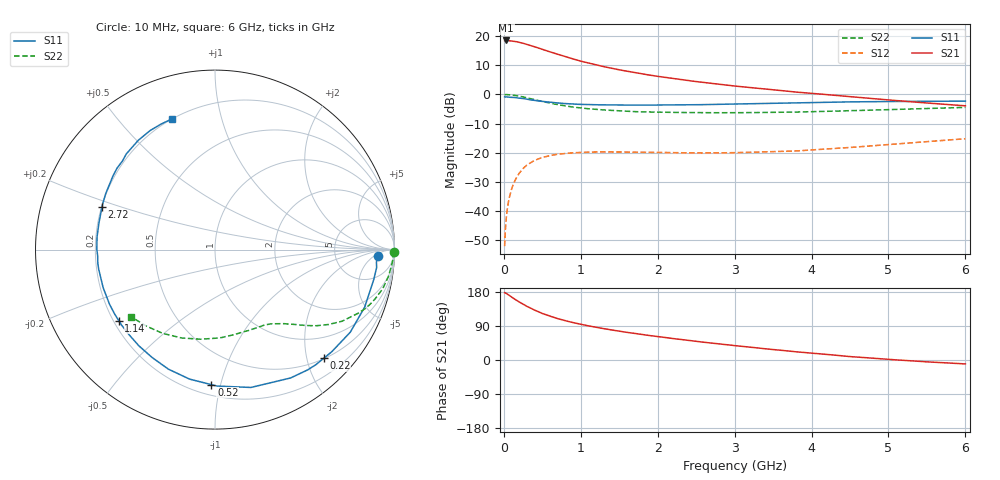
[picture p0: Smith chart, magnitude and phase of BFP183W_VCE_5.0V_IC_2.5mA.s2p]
! (c) 2016  Infineon Technologies AG, Munich
! Infineon Technologies  Discrete & RF Semiconductors
! BFP183W
! VCE = 5.0 V,  IC =  2.5 mA
! Common Emitter S-Parameters:  Jan 2016
# GHz  S  MA  R  50
!  f  S11  S21  S12  S22
! GHz  MAG  ANG  MAG  ANG  MAG  ANG  MAG  ANG
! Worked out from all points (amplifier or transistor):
!   210 points, 10 MHz to 6 GHz, reference 50 ohm
!   highest |S21| = 18.5 dB at 30 MHz (marker M1)
!   |S21| within 3 dB of that: start of sweep to 495.8 MHz
!   unconditionally stable (mu >= 1): 2.265 GHz to end of sweep
!   at 185 MHz: K = 0.10, MSG = 22.8 dB, |S12| = -27.7 dB
!   at 1.52 GHz: K = 0.69, MSG = 14.0 dB, |S12| = -19.8 dB
!   at 6 GHz: K = 1.01, MAG = 5.1 dB, |S12| = -15.2 dB
!   S11 on the Smith chart (normalised r, x): 10 MHz: 18, -7; 220 MHz: 0.51, -2.32; 520 MHz: 0.27, -0.94; 1.14 GHz: 0.22, -0.31; 2.72 GHz: 0.20, +0.17; 6 GHz: 0.20, +0.70
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0.01  0.9085 -2.2  8.36 177.8  0.0025 90.2  0.9971 -0.9
0.02  0.902 -4.4  8.4 177.3  0.0048 86.4  0.9886 -1.8
0.03  0.9061 -6.3  8.406 176.0  0.0072 87.6  0.9937 -2.7
0.075  0.8932 -15.8  8.295 169.8  0.0178 80.0  0.9831 -6.7
0.15  0.8831 -31.4  8.096 159.5  0.0344 72.3  0.9593 -13.2
0.22  0.8566 -45.0  7.695 150.9  0.0481 65.1  0.9221 -18.6
0.3  0.83 -59.5  7.202 141.5  0.0615 57.6  0.8738 -23.9
0.4  0.7937 -75.4  6.567 131.6  0.0739 49.5  0.8127 -29.4
0.52  0.7527 -91.5  5.806 121.5  0.0843 42.2  0.7467 -34.1
0.6  0.7354 -101.1  5.356 115.6  0.0894 37.9  0.7079 -36.8
0.7  0.7149 -111.3  4.875 109.2  0.0942 33.9  0.6679 -39.3
0.9  0.6836 -128.3  4.051 98.6  0.0997 27.5  0.6059 -43.4
1.02  0.6725 -136.2  3.658 93.5  0.1013 24.5  0.5817 -45.5
1.14  0.6664 -143.6  3.345 88.6  0.1026 22.3  0.5615 -47.3
1.3  0.6619 -152.5  2.986 82.6  0.1032 20.1  0.5409 -49.7
1.6  0.6559 -165.8  2.498 72.9  0.1028 17.6  0.5139 -53.9
2.02  0.6585 179.1  2.022 61.2  0.1012 16.7  0.4955 -60.4
2.72  0.6721 159.5  1.532 44.2  0.0995 19.4  0.4846 -72.4
3.1  0.6868 150.6  1.351 36.0  0.1009 22.2  0.486 -79.7
4.1  0.7291 131.3  1.017 16.4  0.1138 30.6  0.5079 -101.3
5.1  0.756 117.6  0.784 0.3  0.141 35.1  0.5536 -124.1
6  0.7662 108.4  0.637 -10.4  0.1735 35.1  0.5984 -141.3
